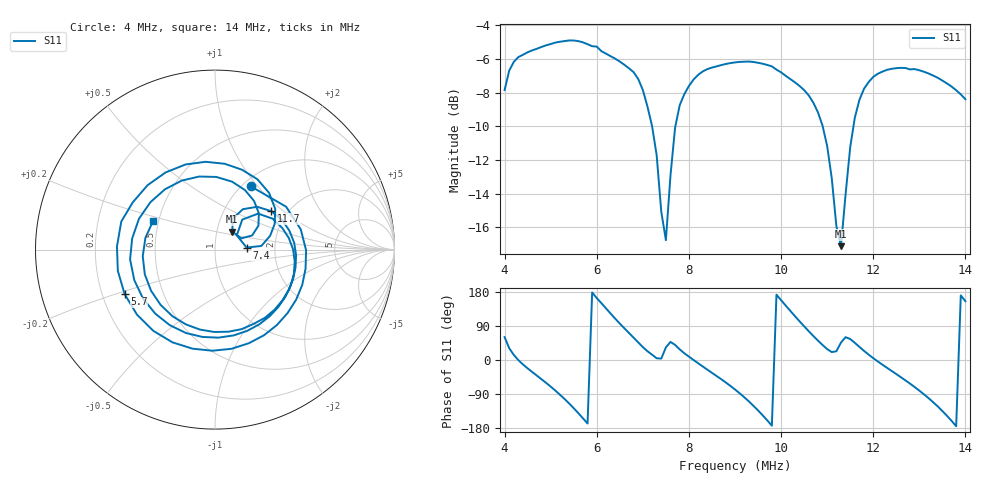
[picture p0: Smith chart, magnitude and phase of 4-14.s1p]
# HZ S RI R 50
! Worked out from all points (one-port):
!   101 points, 4 MHz to 14 MHz, reference 50 ohm
!   lowest |S11| = -17.1 dB at 11.3 MHz (marker M1), VSWR 1.32, Z = 59.4 + j12.1 ohm
!   |S11| at or under -10 dB: 7.201 MHz to 7.707 MHz (505.7 kHz wide, 6.78 % of centre); 10.9 MHz to 11.57 MHz (669.1 kHz wide, 5.95 % of centre)
!   S11 on the Smith chart (normalised r, x): 4 MHz: 1.09, +0.92; 5.7 MHz: 0.30, -0.21; 7.4 MHz: 1.43, +0.03; 11.7 MHz: 1.65, +0.83; 14 MHz: 0.47, +0.17
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4000000  0.1998 0.3522
4200000  0.478 0.1124
4500000  0.4859 -0.1972
4900000  0.2724 -0.4777
5300000  -0.1246 -0.5522
5700000  -0.5035 -0.2479
6000000  -0.5222 0.1563
6500000  -0.0529 0.4892
7000000  0.3357 0.2267
7300000  0.2584 0.0203
7400000  0.1758 0.0115
7500000  0.1213 0.0794
7800000  0.3221 0.1718
8300000  0.4397 -0.135
9000000  0.1032 -0.4782
9400000  -0.252 -0.4209
9800000  -0.4731 -0.0547
1.03e7  -0.186 0.3843
1.08e7  0.2175 0.2713
1.11e7  0.2069 0.0787
1.13e7  0.0967 0.1001
1.15e7  0.1555 0.2253
1.17e7  0.3117 0.2148
1.22e7  0.4487 -0.0985
1.28e7  0.2159 -0.4134
1.34e7  -0.2365 -0.3715
1.37e7  -0.3911 -0.138
1.4e7  -0.345 0.1599
